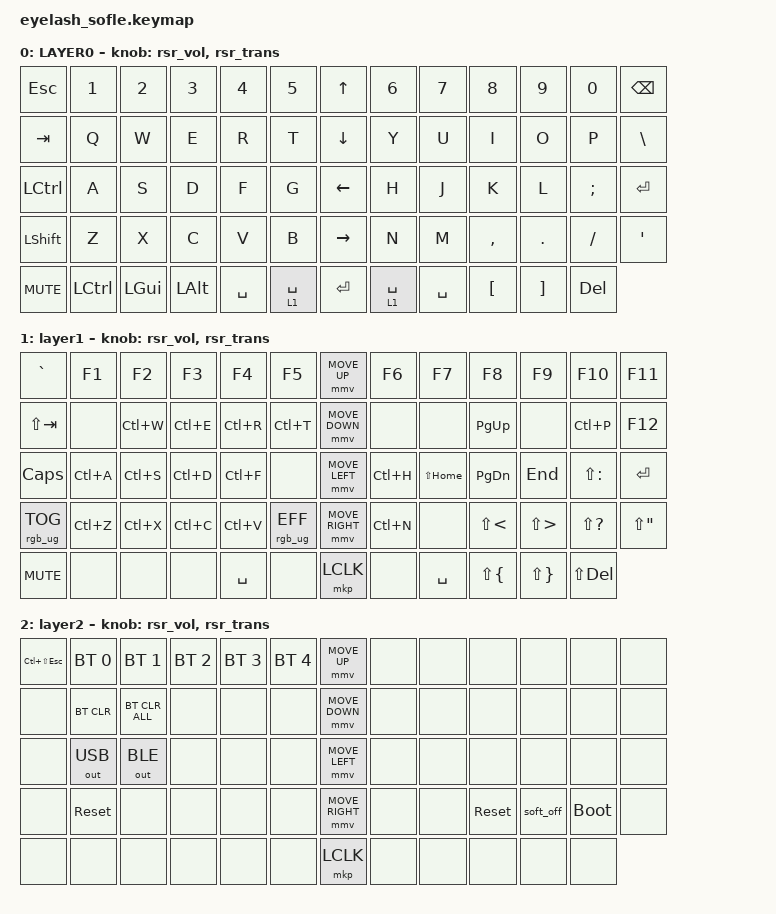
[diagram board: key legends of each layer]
#include <input/processors.dtsi>
#include <zephyr/dt-bindings/input/input-event-codes.h>
#include <behaviors/runtime-sensor-rotate.dtsi>
#include <behaviors.dtsi>
#include <dt-bindings/zmk/bt.h>
#include <dt-bindings/zmk/keys.h>
#include <dt-bindings/zmk/outputs.h>
#include <dt-bindings/zmk/pointing.h>
#include <dt-bindings/zmk/rgb.h>

/ {
    zip_scroll_scaler: zip_scroll_scaler {
        compatible = "zmk,input-processor-scaler";
        #input-processor-cells = <2>;
        type = <INPUT_EV_REL>;
        codes = <INPUT_REL_WHEEL INPUT_REL_HWHEEL>;
        track-remainders;
    };
};

&mmv_input_listener { input-processors = <&zip_xy_scaler 2 1>; };

&msc_input_listener { input-processors = <&zip_scroll_scaler 2 1>; };

&msc {
    acceleration-exponent = <0>;      // 0
    time-to-max-speed-ms = <0>;       // 300
    delay-ms = <0>;                   // 0
};

&mmv {
    time-to-max-speed-ms = <400>;
    acceleration-exponent = <1>;
};

&soft_off { hold-time-ms = <2000>; };

/ {
    behaviors {
        rsr_vol: rsr_vol {
            compatible = "zmk,behavior-runtime-sensor-rotate";
            #sensor-binding-cells = <0>;
            tap-ms = <5>;
            cw-binding = <&kp C_VOL_UP>;
            ccw-binding = <&kp C_VOL_DN>;
        };

        rsr_trans: rsr_trans {
            compatible = "zmk,behavior-runtime-sensor-rotate";
            #sensor-binding-cells = <0>;
            tap-ms = <0>;
        };
    };

    macros {
        shift_MB3: shift_MB3 {
            compatible = "zmk,behavior-macro";
            #binding-cells = <0>;
            bindings =
                <&macro_press>,
                <&kp LEFT_SHIFT>,
                <&macro_press>,
                <&mkp MB3>,
                <&macro_pause_for_release>,
                <&macro_release>,
                <&mkp MB3 &kp LEFT_SHIFT>;

            label = "SHIFT_MB3";
        };
    };

    combos {
        compatible = "zmk,combos";

        softoff {
            bindings = <&soft_off>;
            key-positions = <14 28 40>;
        };

        minus {
            bindings = <&kp MINUS>;
            key-positions = <30 31>;
        };

        equal {
            bindings = <&kp EQUAL>;
            key-positions = <33 34>;
        };
    };

    keymap {
        compatible = "zmk,keymap";

        DEFAULT {
            bindings = <
&kp ESC     &kp N1     &kp N2        &kp N3        &kp N4     &kp N5         &kp UP_ARROW     &kp N6       &kp N7     &kp N8     &kp N9    &kp N0    &kp BACKSPACE
&kp TAB     &kp Q      &kp W         &kp E         &kp R      &kp T          &kp DOWN_ARROW   &kp Y        &kp U      &kp I      &kp O     &kp P     &kp BSLH
&kp LCTRL   &kp A      &kp S         &kp D         &kp F      &kp G          &kp LEFT_ARROW   &kp H        &kp J      &kp K      &kp L     &kp SEMI  &kp RET
&kp LSHFT   &kp Z      &kp X         &kp C         &kp V      &kp B          &kp RIGHT_ARROW  &kp N        &kp M      &kp COMMA  &kp DOT   &kp FSLH  &kp SQT
&kp C_MUTE  &kp LCTRL  &kp LEFT_GUI  &kp LEFT_ALT  &kp SPACE  &lt 1 SPACE    &kp ENTER        &lt 1 SPACE  &kp SPACE  &kp LBKT   &kp RBKT  &kp DEL
            >;

            sensor-bindings = <&rsr_vol &rsr_trans>;
            display-name = "LAYER0";
        };

        FUNLAYER {
            bindings = <
&kp GRAVE        &kp F1     &kp F2     &kp F3     &kp F4     &kp F5             &mmv MOVE_UP     &kp F6     &kp F7        &kp F8         &kp F9        &kp F10        &kp F11
&kp LS(TAB)      &none      &kp LC(W)  &kp LC(E)  &kp LC(R)  &kp LC(T)          &mmv MOVE_DOWN   &none      &none         &kp PAGE_UP    &none         &kp LC(P)      &kp F12
&kp CAPSLOCK     &kp LC(A)  &kp LC(S)  &kp LC(D)  &kp LC(F)  &none              &mmv MOVE_LEFT   &kp LC(H)  &kp LS(HOME)  &kp PAGE_DOWN  &kp END       &kp LS(COLON)  &kp RET
&rgb_ug RGB_TOG  &kp LC(Z)  &kp LC(X)  &kp LC(C)  &kp LC(V)  &rgb_ug RGB_EFF    &mmv MOVE_RIGHT  &kp LC(N)  &none         &kp LS(LT)     &kp LS(GT)    &kp LS(QMARK)  &kp LS(DQT)
&kp C_MUTE       &none      &none      &none      &kp SPACE  &none              &mkp LCLK        &none      &kp SPACE     &kp LS(LBRC)   &kp LS(RBRC)  &kp LS(DEL)
            >;

            display-name = "layer1";
            sensor-bindings = <&rsr_vol &rsr_trans>;
        };

        BTLAYER {
            bindings = <
&kp LC(LS(ESCAPE))  &bt BT_SEL 0  &bt BT_SEL 1    &bt BT_SEL 2  &bt BT_SEL 3  &bt BT_SEL 4    &mmv MOVE_UP     &none  &none  &none       &none      &none        &none
&none               &bt BT_CLR    &bt BT_CLR_ALL  &none         &none         &none           &mmv MOVE_DOWN   &none  &none  &none       &none      &none        &none
&none               &out OUT_USB  &out OUT_BLE    &none         &none         &none           &mmv MOVE_LEFT   &none  &none  &none       &none      &none        &none
&none               &sys_reset    &none           &none         &none         &none           &mmv MOVE_RIGHT  &none  &none  &sys_reset  &soft_off  &bootloader  &none
&none               &none         &none           &none         &none         &none           &mkp LCLK        &none  &none  &none       &none      &none
            >;

            display-name = "layer2";
            sensor-bindings = <&rsr_vol &rsr_trans>;
        };
    };
};
